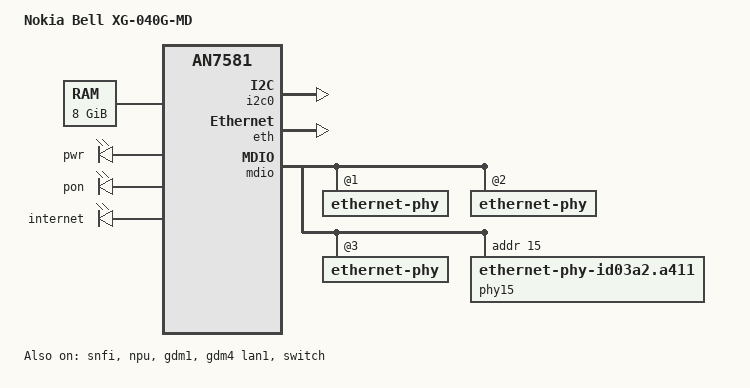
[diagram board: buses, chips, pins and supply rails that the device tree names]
// SPDX-License-Identifier: (GPL-2.0-only OR BSD-2-Clause)
/dts-v1/;

#include <dt-bindings/leds/common.h>
#include <dt-bindings/gpio/gpio.h>
#include <dt-bindings/input/input.h>
#include "an7581.dtsi"

/ {
    model = "Nokia Bell XG-040G-MD";
    compatible = "bell,xg-040g-md", "airoha,an7581";

    efuse-banks {
        compatible = "airoha,an7581-efuses";
        #address-cells = <0x01>;
        #size-cells = <0x00>;

        bank@0 {
            reg = <0x00>;
        };

        bank@1 {
            reg = <0x01>;
        };
    };

    aliases {
        serial0 = &uart1;
    };

    chosen {
        bootargs = "console=ttyS0,115200n8 loglevel=7  earlycon";
        stdout-path = "serial0:115200n8";
        bootargs-append = " ubi.mtd=rootfs,2048 rootfstype=squashfs loglevel=8 ubi.block=0,rootfs ro init=/etc/preinit";
    };

    memory@80000000 {
        device_type = "memory";
        reg = <0x0 0x80000000 0x2 0x00000000>;
    };

	leds {
		compatible = "gpio-leds";

		led-0 {
			label = "pwr";
			color = <0x01>;
			function = "power";
			gpios = <0x24 0x11 0x01>;
			default-state = "on";
		};

		led-2 {
			label = "pon";
			color = <0x02>;
			function = "status";
			gpios = <0x24 0x13 0x01>;
			default-state = "off";
		};

		led-3 {
			label = "internet";
			color = <0x02>;
			function = "status";
			gpios = <0x24 0x14 0x01>;
			default-state = "on";
		};
	};
};

&en7581_pinctrl {
    gpio-ranges = <&en7581_pinctrl 0 13 47>;

    mdio_pins: mdio-pins {
        mux {
            function = "mdio";
            groups = "mdio";
        };

        conf {
            pins = "gpio2";
            output-high;
        };
    };

    pcie0_rst_pins: pcie0-rst-pins {
        conf {
            pins = "pcie_reset0";
            drive-open-drain = <1>;
        };
    };

    pcie1_rst_pins: pcie1-rst-pins {
        conf {
            pins = "pcie_reset1";
            drive-open-drain = <1>;
        };
    };

    gswp1_led0_pins: gswp1-led0-pins {
        mux {
            function = "phy1_led0";
            pins = "gpio33";
        };
    };

    gswp2_led0_pins: gswp2-led0-pins {
        mux {
            function = "phy2_led0";
            pins = "gpio34";
        };
    };

    gswp3_led0_pins: gswp3-led0-pins {
        mux {
            function = "phy3_led0";
            pins = "gpio35";
        };
    };

    gswp4_led0_pins: gswp4-led0-pins {
        mux {
            function = "phy4_led0";
            pins = "gpio42";
        };
    };

    pwm_gpio18_idx10_pins: pwm-gpio18-idx10-pins {
        function = "pwm";
        pins = "gpio18";
        output-enable;
    };
};

&snfi {
	status = "okay";
};


&spi_nand {
	#address-cells = <1>;
	#size-cells = <1>;
        partitions {
        compatible = "fixed-partitions";
		    #address-cells = <1>;
		    #size-cells = <1>;

            partition@0 {
                label = "bootloader";
                reg = <0x0  0x00080000>;
                read-only;
            };

            partition@80000  {
                label = "env";
                reg = <0x00080000 0x00080000>;
            };

            partition@100000 {
                label = "ubi";
                reg = <0x00100000  0x00>;
    		};
     };
};

&i2c0 {
    status = "okay";
};

&npu {
	status = "okay";
};

&eth {
	status = "okay";
};

&gdm1 {
	status = "okay";
};

&gdm4 {
	status = "okay";
	phy-handle = <&phy15>;
	phy-mode = "2500base-x";
	label = "lan1";
};

&switch {
	status = "okay";
	pinctrl-names = "default";
	pinctrl-0 = <&mdio_pins>;

	ports {
		port@2 {
			status = "okay";
			label = "lan2";
		};

		port@3 {
			status = "okay";
			label = "lan3";
		};

		port@4 {
			status = "okay";
			label = "lan4";
		};
	};

	mdio {
		ethernet-phy@1 {
			status = "okay";
			pinctrl-names = "gbe-led";
			pinctrl-0 = <&gswp2_led0_pins>;

			leds {
				gsw-phy1-led0@0 {
					reg = <0x00>;
					function = LED_FUNCTION_LAN;
					status = "okay";
					active-low;
				};
			};
		};

		ethernet-phy@2 {
			status = "okay";
			pinctrl-names = "gbe-led";
			pinctrl-0 = <&gswp3_led0_pins>;

			leds {
				gsw-phy2-led0@0 {
					reg = <0x00>;
					function = LED_FUNCTION_LAN;
					status = "okay";
					active-low;
				};
			};
		};

		ethernet-phy@3 {
			status = "okay";
			pinctrl-names = "gbe-led";
			pinctrl-0 = <&gswp4_led0_pins>;

			leds {
				gsw-phy3-led0@0 {
					reg = <0x00>;
					function = LED_FUNCTION_LAN;
					status = "okay";
					active-low;
				};
			};
		};

		phy15: ethernet-phy@f {
			/* Airoha EN8811H */
			compatible = "ethernet-phy-id03a2.a411", "ethernet-phy-ieee802.3-c45";
			reg = <15>;
            phy-mode = "2500base-x";
			phandle = <0x38>;
		};
	};
};
